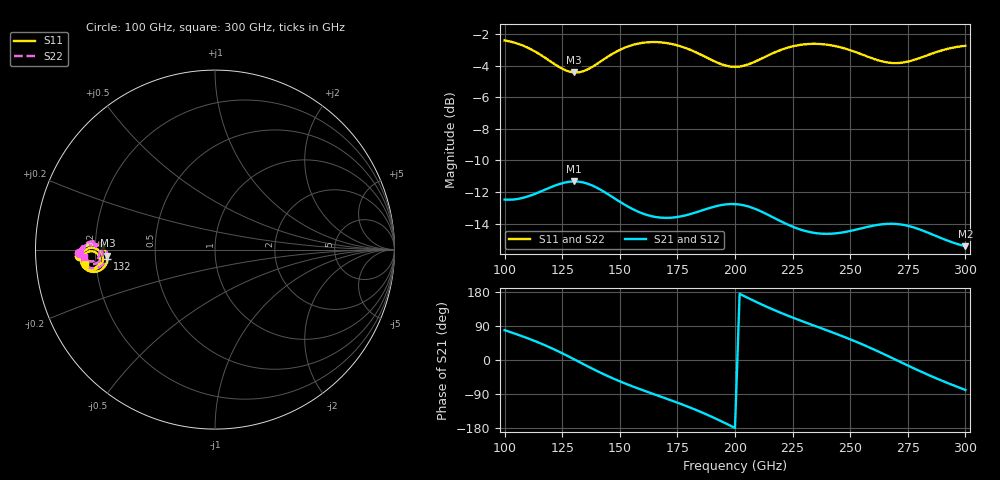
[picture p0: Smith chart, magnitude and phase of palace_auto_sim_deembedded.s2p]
! Created with skrf 1.11.0 (http://scikit-rf.org).
# GHz S DB R 50.0
!freq dBS11 angS11 dBS21 angS21 dBS12 angS12 dBS22 angS22
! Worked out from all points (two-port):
!   101 points, 100 GHz to 300 GHz, reference 50 ohm
!   highest |S21| = -11.33 dB at 130 GHz (marker M1); lowest = -15.4 dB at 300 GHz (marker M2)
!   |S21| within 3 dB of the highest: start of sweep to 227.4 GHz; 254.1 GHz to 279.3 GHz (25.16 GHz wide, 9.43 % of centre)
!   lowest |S11| = -4.4 dB at 130 GHz (marker M3), VSWR 4.01, Z = 12.5 - j1.36 ohm
!   |S11| at or under -10 dB: nowhere
!   |S22| runs from -4.4 to -2.4 dB; largest |S21 - S12| = 2.7e-13
!   S11 on the Smith chart (normalised r, x): 100 GHz: 0.14, -0.02; 132 GHz: 0.25, -0.04; 300 GHz: 0.16, -0.06
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100  -2.39 -177.5  -12.48 78.8  -12.48 78.8  -2.39 -178.6
116  -3.34 177.4  -11.95 42.9  -11.95 42.9  -3.33 176.1
122  -3.92 178.3  -11.59 26.6  -11.59 26.6  -3.92 176.9
130  -4.42 -176.7  -11.33 2.4  -11.33 2.4  -4.41 -178.2
132  -4.42 -175.1  -11.35 -3.9  -11.35 -3.9  -4.41 -176.6
134  -4.35 -173.5  -11.39 -10.2  -11.39 -10.2  -4.34 -175.0
142  -3.69 -169.7  -11.89 -34.6  -11.89 -34.6  -3.69 -171.3
148  -3.14 -169.7  -12.43 -51.1  -12.43 -51.1  -3.14 -171.5
158  -2.59 -172.8  -13.25 -75.3  -13.25 -75.3  -2.59 -174.6
168  -2.51 -176.7  -13.63 -97.2  -13.63 -97.2  -2.51 -178.6
178  -2.84 -179.9  -13.50 -119.5  -13.50 -119.5  -2.84 178.1
186  -3.35 179.2  -13.16 -139.3  -13.16 -139.3  -3.35 177.1
194  -3.90 -178.9  -12.83 -161.5  -12.83 -161.5  -3.89 178.9
200  -4.07 -175.7  -12.77 -179.3  -12.77 -179.3  -4.06 -178.0
206  -3.90 -172.5  -12.93 162.6  -12.93 162.6  -3.89 -174.9
216  -3.23 -170.7  -13.57 134.5  -13.57 134.5  -3.23 -173.2
234  -2.61 -175.0  -14.59 91.5  -14.59 91.5  -2.60 -177.7
252  -3.11 -179.1  -14.41 49.6  -14.41 49.6  -3.11 178.0
268  -3.82 -175.9  -14.02 5.8  -14.02 5.8  -3.82 -178.9
276  -3.70 -172.7  -14.18 -17.3  -14.18 -17.3  -3.70 -175.8
284  -3.31 -171.2  -14.60 -39.5  -14.60 -39.5  -3.30 -174.5
300  -2.73 -173.5  -15.44 -79.1  -15.44 -79.1  -2.73 -177.0
